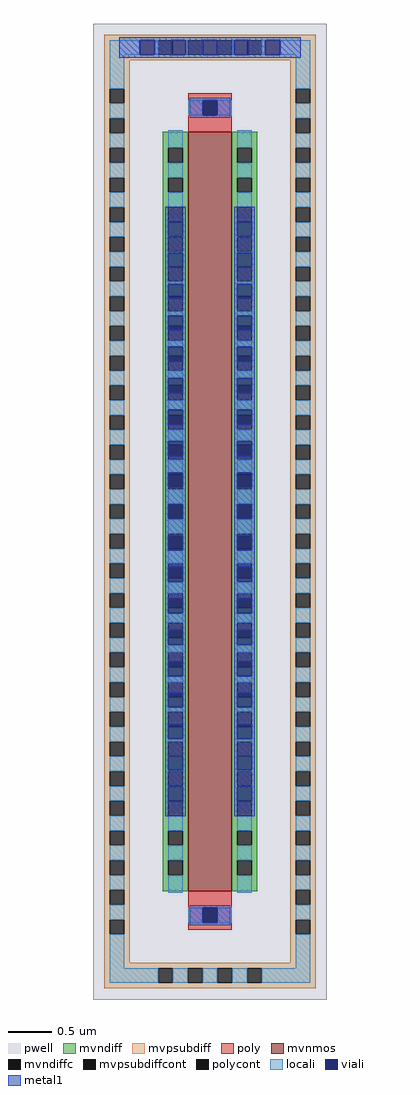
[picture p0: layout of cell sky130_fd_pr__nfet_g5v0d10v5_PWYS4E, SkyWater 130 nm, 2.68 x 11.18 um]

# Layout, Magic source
magic
tech sky130A
magscale 1 2
<< pwell >>
rect -268 -1118 268 1118
<< mvnmos >>
rect -50 -870 50 870
<< mvndiff >>
rect -108 833 -50 870
rect -108 799 -96 833
rect -62 799 -50 833
rect -108 765 -50 799
rect -108 731 -96 765
rect -62 731 -50 765
rect -108 697 -50 731
rect -108 663 -96 697
rect -62 663 -50 697
rect -108 629 -50 663
rect -108 595 -96 629
rect -62 595 -50 629
rect -108 561 -50 595
rect -108 527 -96 561
rect -62 527 -50 561
rect -108 493 -50 527
rect -108 459 -96 493
rect -62 459 -50 493
rect -108 425 -50 459
rect -108 391 -96 425
rect -62 391 -50 425
rect -108 357 -50 391
rect -108 323 -96 357
rect -62 323 -50 357
rect -108 289 -50 323
rect -108 255 -96 289
rect -62 255 -50 289
rect -108 221 -50 255
rect -108 187 -96 221
rect -62 187 -50 221
rect -108 153 -50 187
rect -108 119 -96 153
rect -62 119 -50 153
rect -108 85 -50 119
rect -108 51 -96 85
rect -62 51 -50 85
rect -108 17 -50 51
rect -108 -17 -96 17
rect -62 -17 -50 17
rect -108 -51 -50 -17
rect -108 -85 -96 -51
rect -62 -85 -50 -51
rect -108 -119 -50 -85
rect -108 -153 -96 -119
rect -62 -153 -50 -119
rect -108 -187 -50 -153
rect -108 -221 -96 -187
rect -62 -221 -50 -187
rect -108 -255 -50 -221
rect -108 -289 -96 -255
rect -62 -289 -50 -255
rect -108 -323 -50 -289
rect -108 -357 -96 -323
rect -62 -357 -50 -323
rect -108 -391 -50 -357
rect -108 -425 -96 -391
rect -62 -425 -50 -391
rect -108 -459 -50 -425
rect -108 -493 -96 -459
rect -62 -493 -50 -459
rect -108 -527 -50 -493
rect -108 -561 -96 -527
rect -62 -561 -50 -527
rect -108 -595 -50 -561
rect -108 -629 -96 -595
rect -62 -629 -50 -595
rect -108 -663 -50 -629
rect -108 -697 -96 -663
rect -62 -697 -50 -663
rect -108 -731 -50 -697
rect -108 -765 -96 -731
rect -62 -765 -50 -731
rect -108 -799 -50 -765
rect -108 -833 -96 -799
rect -62 -833 -50 -799
rect -108 -870 -50 -833
rect 50 833 108 870
rect 50 799 62 833
rect 96 799 108 833
rect 50 765 108 799
rect 50 731 62 765
rect 96 731 108 765
rect 50 697 108 731
rect 50 663 62 697
rect 96 663 108 697
rect 50 629 108 663
rect 50 595 62 629
rect 96 595 108 629
rect 50 561 108 595
rect 50 527 62 561
rect 96 527 108 561
rect 50 493 108 527
rect 50 459 62 493
rect 96 459 108 493
rect 50 425 108 459
rect 50 391 62 425
rect 96 391 108 425
rect 50 357 108 391
rect 50 323 62 357
rect 96 323 108 357
rect 50 289 108 323
rect 50 255 62 289
rect 96 255 108 289
rect 50 221 108 255
rect 50 187 62 221
rect 96 187 108 221
rect 50 153 108 187
rect 50 119 62 153
rect 96 119 108 153
rect 50 85 108 119
rect 50 51 62 85
rect 96 51 108 85
rect 50 17 108 51
rect 50 -17 62 17
rect 96 -17 108 17
rect 50 -51 108 -17
rect 50 -85 62 -51
rect 96 -85 108 -51
rect 50 -119 108 -85
rect 50 -153 62 -119
rect 96 -153 108 -119
rect 50 -187 108 -153
rect 50 -221 62 -187
rect 96 -221 108 -187
rect 50 -255 108 -221
rect 50 -289 62 -255
rect 96 -289 108 -255
rect 50 -323 108 -289
rect 50 -357 62 -323
rect 96 -357 108 -323
rect 50 -391 108 -357
rect 50 -425 62 -391
rect 96 -425 108 -391
rect 50 -459 108 -425
rect 50 -493 62 -459
rect 96 -493 108 -459
rect 50 -527 108 -493
rect 50 -561 62 -527
rect 96 -561 108 -527
rect 50 -595 108 -561
rect 50 -629 62 -595
rect 96 -629 108 -595
rect 50 -663 108 -629
rect 50 -697 62 -663
rect 96 -697 108 -663
rect 50 -731 108 -697
rect 50 -765 62 -731
rect 96 -765 108 -731
rect 50 -799 108 -765
rect 50 -833 62 -799
rect 96 -833 108 -799
rect 50 -870 108 -833
<< mvndiffc >>
rect -96 799 -62 833
rect -96 731 -62 765
rect -96 663 -62 697
rect -96 595 -62 629
rect -96 527 -62 561
rect -96 459 -62 493
rect -96 391 -62 425
rect -96 323 -62 357
rect -96 255 -62 289
rect -96 187 -62 221
rect -96 119 -62 153
rect -96 51 -62 85
rect -96 -17 -62 17
rect -96 -85 -62 -51
rect -96 -153 -62 -119
rect -96 -221 -62 -187
rect -96 -289 -62 -255
rect -96 -357 -62 -323
rect -96 -425 -62 -391
rect -96 -493 -62 -459
rect -96 -561 -62 -527
rect -96 -629 -62 -595
rect -96 -697 -62 -663
rect -96 -765 -62 -731
rect -96 -833 -62 -799
rect 62 799 96 833
rect 62 731 96 765
rect 62 663 96 697
rect 62 595 96 629
rect 62 527 96 561
rect 62 459 96 493
rect 62 391 96 425
rect 62 323 96 357
rect 62 255 96 289
rect 62 187 96 221
rect 62 119 96 153
rect 62 51 96 85
rect 62 -17 96 17
rect 62 -85 96 -51
rect 62 -153 96 -119
rect 62 -221 96 -187
rect 62 -289 96 -255
rect 62 -357 96 -323
rect 62 -425 96 -391
rect 62 -493 96 -459
rect 62 -561 96 -527
rect 62 -629 96 -595
rect 62 -697 96 -663
rect 62 -765 96 -731
rect 62 -833 96 -799
<< mvpsubdiff >>
rect -242 1080 242 1092
rect -242 1046 -119 1080
rect -85 1046 -51 1080
rect -17 1046 17 1080
rect 51 1046 85 1080
rect 119 1046 242 1080
rect -242 1034 242 1046
rect -242 969 -184 1034
rect -242 935 -230 969
rect -196 935 -184 969
rect 184 969 242 1034
rect -242 901 -184 935
rect -242 867 -230 901
rect -196 867 -184 901
rect 184 935 196 969
rect 230 935 242 969
rect 184 901 242 935
rect -242 833 -184 867
rect -242 799 -230 833
rect -196 799 -184 833
rect -242 765 -184 799
rect -242 731 -230 765
rect -196 731 -184 765
rect -242 697 -184 731
rect -242 663 -230 697
rect -196 663 -184 697
rect -242 629 -184 663
rect -242 595 -230 629
rect -196 595 -184 629
rect -242 561 -184 595
rect -242 527 -230 561
rect -196 527 -184 561
rect -242 493 -184 527
rect -242 459 -230 493
rect -196 459 -184 493
rect -242 425 -184 459
rect -242 391 -230 425
rect -196 391 -184 425
rect -242 357 -184 391
rect -242 323 -230 357
rect -196 323 -184 357
rect -242 289 -184 323
rect -242 255 -230 289
rect -196 255 -184 289
rect -242 221 -184 255
rect -242 187 -230 221
rect -196 187 -184 221
rect -242 153 -184 187
rect -242 119 -230 153
rect -196 119 -184 153
rect -242 85 -184 119
rect -242 51 -230 85
rect -196 51 -184 85
rect -242 17 -184 51
rect -242 -17 -230 17
rect -196 -17 -184 17
rect -242 -51 -184 -17
rect -242 -85 -230 -51
rect -196 -85 -184 -51
rect -242 -119 -184 -85
rect -242 -153 -230 -119
rect -196 -153 -184 -119
rect -242 -187 -184 -153
rect -242 -221 -230 -187
rect -196 -221 -184 -187
rect -242 -255 -184 -221
rect -242 -289 -230 -255
rect -196 -289 -184 -255
rect -242 -323 -184 -289
rect -242 -357 -230 -323
rect -196 -357 -184 -323
rect -242 -391 -184 -357
rect -242 -425 -230 -391
rect -196 -425 -184 -391
rect -242 -459 -184 -425
rect -242 -493 -230 -459
rect -196 -493 -184 -459
rect -242 -527 -184 -493
rect -242 -561 -230 -527
rect -196 -561 -184 -527
rect -242 -595 -184 -561
rect -242 -629 -230 -595
rect -196 -629 -184 -595
rect -242 -663 -184 -629
rect -242 -697 -230 -663
rect -196 -697 -184 -663
rect -242 -731 -184 -697
rect -242 -765 -230 -731
rect -196 -765 -184 -731
rect -242 -799 -184 -765
rect -242 -833 -230 -799
rect -196 -833 -184 -799
rect -242 -867 -184 -833
rect -242 -901 -230 -867
rect -196 -901 -184 -867
rect 184 867 196 901
rect 230 867 242 901
rect 184 833 242 867
rect 184 799 196 833
rect 230 799 242 833
rect 184 765 242 799
rect 184 731 196 765
rect 230 731 242 765
rect 184 697 242 731
rect 184 663 196 697
rect 230 663 242 697
rect 184 629 242 663
rect 184 595 196 629
rect 230 595 242 629
rect 184 561 242 595
rect 184 527 196 561
rect 230 527 242 561
rect 184 493 242 527
rect 184 459 196 493
rect 230 459 242 493
rect 184 425 242 459
rect 184 391 196 425
rect 230 391 242 425
rect 184 357 242 391
rect 184 323 196 357
rect 230 323 242 357
rect 184 289 242 323
rect 184 255 196 289
rect 230 255 242 289
rect 184 221 242 255
rect 184 187 196 221
rect 230 187 242 221
rect 184 153 242 187
rect 184 119 196 153
rect 230 119 242 153
rect 184 85 242 119
rect 184 51 196 85
rect 230 51 242 85
rect 184 17 242 51
rect 184 -17 196 17
rect 230 -17 242 17
rect 184 -51 242 -17
rect 184 -85 196 -51
rect 230 -85 242 -51
rect 184 -119 242 -85
rect 184 -153 196 -119
rect 230 -153 242 -119
rect 184 -187 242 -153
rect 184 -221 196 -187
rect 230 -221 242 -187
rect 184 -255 242 -221
rect 184 -289 196 -255
rect 230 -289 242 -255
rect 184 -323 242 -289
rect 184 -357 196 -323
rect 230 -357 242 -323
rect 184 -391 242 -357
rect 184 -425 196 -391
rect 230 -425 242 -391
rect 184 -459 242 -425
rect 184 -493 196 -459
rect 230 -493 242 -459
rect 184 -527 242 -493
rect 184 -561 196 -527
rect 230 -561 242 -527
rect 184 -595 242 -561
rect 184 -629 196 -595
rect 230 -629 242 -595
rect 184 -663 242 -629
rect 184 -697 196 -663
rect 230 -697 242 -663
rect 184 -731 242 -697
rect 184 -765 196 -731
rect 230 -765 242 -731
rect 184 -799 242 -765
rect 184 -833 196 -799
rect 230 -833 242 -799
rect 184 -867 242 -833
rect -242 -935 -184 -901
rect -242 -969 -230 -935
rect -196 -969 -184 -935
rect 184 -901 196 -867
rect 230 -901 242 -867
rect 184 -935 242 -901
rect -242 -1034 -184 -969
rect 184 -969 196 -935
rect 230 -969 242 -935
rect 184 -1034 242 -969
rect -242 -1046 242 -1034
rect -242 -1080 -119 -1046
rect -85 -1080 -51 -1046
rect -17 -1080 17 -1046
rect 51 -1080 85 -1046
rect 119 -1080 242 -1046
rect -242 -1092 242 -1080
<< mvpsubdiffcont >>
rect -119 1046 -85 1080
rect -51 1046 -17 1080
rect 17 1046 51 1080
rect 85 1046 119 1080
rect -230 935 -196 969
rect -230 867 -196 901
rect 196 935 230 969
rect -230 799 -196 833
rect -230 731 -196 765
rect -230 663 -196 697
rect -230 595 -196 629
rect -230 527 -196 561
rect -230 459 -196 493
rect -230 391 -196 425
rect -230 323 -196 357
rect -230 255 -196 289
rect -230 187 -196 221
rect -230 119 -196 153
rect -230 51 -196 85
rect -230 -17 -196 17
rect -230 -85 -196 -51
rect -230 -153 -196 -119
rect -230 -221 -196 -187
rect -230 -289 -196 -255
rect -230 -357 -196 -323
rect -230 -425 -196 -391
rect -230 -493 -196 -459
rect -230 -561 -196 -527
rect -230 -629 -196 -595
rect -230 -697 -196 -663
rect -230 -765 -196 -731
rect -230 -833 -196 -799
rect -230 -901 -196 -867
rect 196 867 230 901
rect 196 799 230 833
rect 196 731 230 765
rect 196 663 230 697
rect 196 595 230 629
rect 196 527 230 561
rect 196 459 230 493
rect 196 391 230 425
rect 196 323 230 357
rect 196 255 230 289
rect 196 187 230 221
rect 196 119 230 153
rect 196 51 230 85
rect 196 -17 230 17
rect 196 -85 230 -51
rect 196 -153 230 -119
rect 196 -221 230 -187
rect 196 -289 230 -255
rect 196 -357 230 -323
rect 196 -425 230 -391
rect 196 -493 230 -459
rect 196 -561 230 -527
rect 196 -629 230 -595
rect 196 -697 230 -663
rect 196 -765 230 -731
rect 196 -833 230 -799
rect -230 -969 -196 -935
rect 196 -901 230 -867
rect 196 -969 230 -935
rect -119 -1080 -85 -1046
rect -51 -1080 -17 -1046
rect 17 -1080 51 -1046
rect 85 -1080 119 -1046
<< poly >>
rect -50 942 50 958
rect -50 908 -17 942
rect 17 908 50 942
rect -50 870 50 908
rect -50 -908 50 -870
rect -50 -942 -17 -908
rect 17 -942 50 -908
rect -50 -958 50 -942
<< polycont >>
rect -17 908 17 942
rect -17 -942 17 -908
<< locali >>
rect -230 1046 -161 1080
rect -127 1046 -119 1080
rect -55 1046 -51 1080
rect 51 1046 55 1080
rect 119 1046 127 1080
rect 161 1046 230 1080
rect -230 969 -196 1046
rect 196 969 230 1046
rect -230 901 -196 935
rect -50 908 -17 942
rect 17 908 50 942
rect 196 901 230 935
rect -230 833 -196 867
rect -230 765 -196 799
rect -230 697 -196 731
rect -230 629 -196 663
rect -230 561 -196 595
rect -230 493 -196 527
rect -230 425 -196 459
rect -230 357 -196 391
rect -230 289 -196 323
rect -230 221 -196 255
rect -230 153 -196 187
rect -230 85 -196 119
rect -230 17 -196 51
rect -230 -51 -196 -17
rect -230 -119 -196 -85
rect -230 -187 -196 -153
rect -230 -255 -196 -221
rect -230 -323 -196 -289
rect -230 -391 -196 -357
rect -230 -459 -196 -425
rect -230 -527 -196 -493
rect -230 -595 -196 -561
rect -230 -663 -196 -629
rect -230 -731 -196 -697
rect -230 -799 -196 -765
rect -230 -867 -196 -833
rect -96 833 -62 874
rect -96 765 -62 799
rect -96 697 -62 731
rect -96 629 -62 631
rect -96 593 -62 595
rect -96 521 -62 527
rect -96 449 -62 459
rect -96 377 -62 391
rect -96 305 -62 323
rect -96 233 -62 255
rect -96 161 -62 187
rect -96 89 -62 119
rect -96 17 -62 51
rect -96 -51 -62 -17
rect -96 -119 -62 -89
rect -96 -187 -62 -161
rect -96 -255 -62 -233
rect -96 -323 -62 -305
rect -96 -391 -62 -377
rect -96 -459 -62 -449
rect -96 -527 -62 -521
rect -96 -595 -62 -593
rect -96 -631 -62 -629
rect -96 -731 -62 -697
rect -96 -799 -62 -765
rect -96 -874 -62 -833
rect 62 833 96 874
rect 62 765 96 799
rect 62 697 96 731
rect 62 629 96 631
rect 62 593 96 595
rect 62 521 96 527
rect 62 449 96 459
rect 62 377 96 391
rect 62 305 96 323
rect 62 233 96 255
rect 62 161 96 187
rect 62 89 96 119
rect 62 17 96 51
rect 62 -51 96 -17
rect 62 -119 96 -89
rect 62 -187 96 -161
rect 62 -255 96 -233
rect 62 -323 96 -305
rect 62 -391 96 -377
rect 62 -459 96 -449
rect 62 -527 96 -521
rect 62 -595 96 -593
rect 62 -631 96 -629
rect 62 -731 96 -697
rect 62 -799 96 -765
rect 62 -874 96 -833
rect 196 833 230 867
rect 196 765 230 799
rect 196 697 230 731
rect 196 629 230 663
rect 196 561 230 595
rect 196 493 230 527
rect 196 425 230 459
rect 196 357 230 391
rect 196 289 230 323
rect 196 221 230 255
rect 196 153 230 187
rect 196 85 230 119
rect 196 17 230 51
rect 196 -51 230 -17
rect 196 -119 230 -85
rect 196 -187 230 -153
rect 196 -255 230 -221
rect 196 -323 230 -289
rect 196 -391 230 -357
rect 196 -459 230 -425
rect 196 -527 230 -493
rect 196 -595 230 -561
rect 196 -663 230 -629
rect 196 -731 230 -697
rect 196 -799 230 -765
rect 196 -867 230 -833
rect -230 -935 -196 -901
rect -50 -942 -17 -908
rect 17 -942 50 -908
rect 196 -935 230 -901
rect -230 -1046 -196 -969
rect 196 -1046 230 -969
rect -230 -1080 -119 -1046
rect -85 -1080 -51 -1046
rect -17 -1080 17 -1046
rect 51 -1080 85 -1046
rect 119 -1080 230 -1046
<< viali >>
rect -161 1046 -127 1080
rect -89 1046 -85 1080
rect -85 1046 -55 1080
rect -17 1046 17 1080
rect 55 1046 85 1080
rect 85 1046 89 1080
rect 127 1046 161 1080
rect -17 908 17 942
rect -96 663 -62 665
rect -96 631 -62 663
rect -96 561 -62 593
rect -96 559 -62 561
rect -96 493 -62 521
rect -96 487 -62 493
rect -96 425 -62 449
rect -96 415 -62 425
rect -96 357 -62 377
rect -96 343 -62 357
rect -96 289 -62 305
rect -96 271 -62 289
rect -96 221 -62 233
rect -96 199 -62 221
rect -96 153 -62 161
rect -96 127 -62 153
rect -96 85 -62 89
rect -96 55 -62 85
rect -96 -17 -62 17
rect -96 -85 -62 -55
rect -96 -89 -62 -85
rect -96 -153 -62 -127
rect -96 -161 -62 -153
rect -96 -221 -62 -199
rect -96 -233 -62 -221
rect -96 -289 -62 -271
rect -96 -305 -62 -289
rect -96 -357 -62 -343
rect -96 -377 -62 -357
rect -96 -425 -62 -415
rect -96 -449 -62 -425
rect -96 -493 -62 -487
rect -96 -521 -62 -493
rect -96 -561 -62 -559
rect -96 -593 -62 -561
rect -96 -663 -62 -631
rect -96 -665 -62 -663
rect 62 663 96 665
rect 62 631 96 663
rect 62 561 96 593
rect 62 559 96 561
rect 62 493 96 521
rect 62 487 96 493
rect 62 425 96 449
rect 62 415 96 425
rect 62 357 96 377
rect 62 343 96 357
rect 62 289 96 305
rect 62 271 96 289
rect 62 221 96 233
rect 62 199 96 221
rect 62 153 96 161
rect 62 127 96 153
rect 62 85 96 89
rect 62 55 96 85
rect 62 -17 96 17
rect 62 -85 96 -55
rect 62 -89 96 -85
rect 62 -153 96 -127
rect 62 -161 96 -153
rect 62 -221 96 -199
rect 62 -233 96 -221
rect 62 -289 96 -271
rect 62 -305 96 -289
rect 62 -357 96 -343
rect 62 -377 96 -357
rect 62 -425 96 -415
rect 62 -449 96 -425
rect 62 -493 96 -487
rect 62 -521 96 -493
rect 62 -561 96 -559
rect 62 -593 96 -561
rect 62 -663 96 -631
rect 62 -665 96 -663
rect -17 -942 17 -908
<< metal1 >>
rect -208 1080 208 1086
rect -208 1046 -161 1080
rect -127 1046 -89 1080
rect -55 1046 -17 1080
rect 17 1046 55 1080
rect 89 1046 127 1080
rect 161 1046 208 1080
rect -208 1040 208 1046
rect -46 942 46 948
rect -46 908 -17 942
rect 17 908 46 942
rect -46 902 46 908
rect -102 665 -56 698
rect -102 631 -96 665
rect -62 631 -56 665
rect -102 593 -56 631
rect -102 559 -96 593
rect -62 559 -56 593
rect -102 521 -56 559
rect -102 487 -96 521
rect -62 487 -56 521
rect -102 449 -56 487
rect -102 415 -96 449
rect -62 415 -56 449
rect -102 377 -56 415
rect -102 343 -96 377
rect -62 343 -56 377
rect -102 305 -56 343
rect -102 271 -96 305
rect -62 271 -56 305
rect -102 233 -56 271
rect -102 199 -96 233
rect -62 199 -56 233
rect -102 161 -56 199
rect -102 127 -96 161
rect -62 127 -56 161
rect -102 89 -56 127
rect -102 55 -96 89
rect -62 55 -56 89
rect -102 17 -56 55
rect -102 -17 -96 17
rect -62 -17 -56 17
rect -102 -55 -56 -17
rect -102 -89 -96 -55
rect -62 -89 -56 -55
rect -102 -127 -56 -89
rect -102 -161 -96 -127
rect -62 -161 -56 -127
rect -102 -199 -56 -161
rect -102 -233 -96 -199
rect -62 -233 -56 -199
rect -102 -271 -56 -233
rect -102 -305 -96 -271
rect -62 -305 -56 -271
rect -102 -343 -56 -305
rect -102 -377 -96 -343
rect -62 -377 -56 -343
rect -102 -415 -56 -377
rect -102 -449 -96 -415
rect -62 -449 -56 -415
rect -102 -487 -56 -449
rect -102 -521 -96 -487
rect -62 -521 -56 -487
rect -102 -559 -56 -521
rect -102 -593 -96 -559
rect -62 -593 -56 -559
rect -102 -631 -56 -593
rect -102 -665 -96 -631
rect -62 -665 -56 -631
rect -102 -698 -56 -665
rect 56 665 102 698
rect 56 631 62 665
rect 96 631 102 665
rect 56 593 102 631
rect 56 559 62 593
rect 96 559 102 593
rect 56 521 102 559
rect 56 487 62 521
rect 96 487 102 521
rect 56 449 102 487
rect 56 415 62 449
rect 96 415 102 449
rect 56 377 102 415
rect 56 343 62 377
rect 96 343 102 377
rect 56 305 102 343
rect 56 271 62 305
rect 96 271 102 305
rect 56 233 102 271
rect 56 199 62 233
rect 96 199 102 233
rect 56 161 102 199
rect 56 127 62 161
rect 96 127 102 161
rect 56 89 102 127
rect 56 55 62 89
rect 96 55 102 89
rect 56 17 102 55
rect 56 -17 62 17
rect 96 -17 102 17
rect 56 -55 102 -17
rect 56 -89 62 -55
rect 96 -89 102 -55
rect 56 -127 102 -89
rect 56 -161 62 -127
rect 96 -161 102 -127
rect 56 -199 102 -161
rect 56 -233 62 -199
rect 96 -233 102 -199
rect 56 -271 102 -233
rect 56 -305 62 -271
rect 96 -305 102 -271
rect 56 -343 102 -305
rect 56 -377 62 -343
rect 96 -377 102 -343
rect 56 -415 102 -377
rect 56 -449 62 -415
rect 96 -449 102 -415
rect 56 -487 102 -449
rect 56 -521 62 -487
rect 96 -521 102 -487
rect 56 -559 102 -521
rect 56 -593 62 -559
rect 96 -593 102 -559
rect 56 -631 102 -593
rect 56 -665 62 -631
rect 96 -665 102 -631
rect 56 -698 102 -665
rect -46 -908 46 -902
rect -46 -942 -17 -908
rect 17 -942 46 -908
rect -46 -948 46 -942
<< properties >>
string FIXED_BBOX -212 -1062 212 1062
<< end >>
